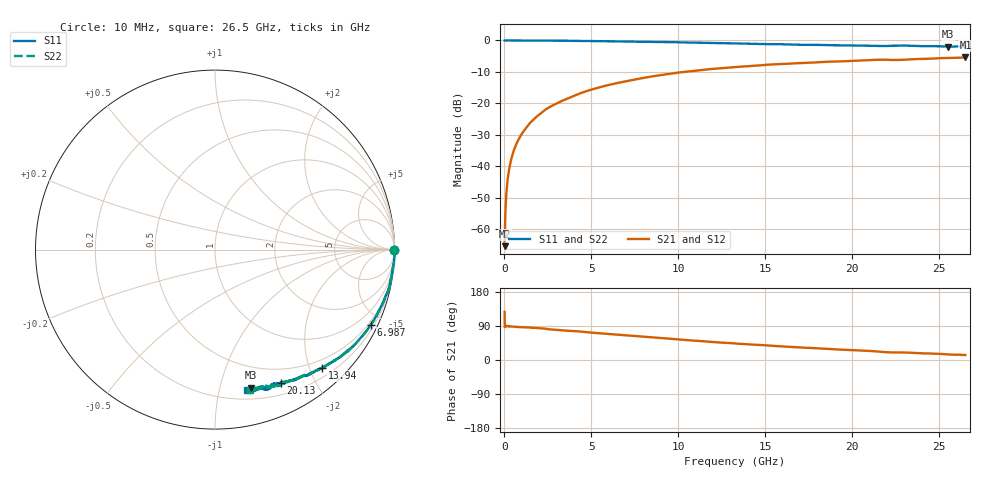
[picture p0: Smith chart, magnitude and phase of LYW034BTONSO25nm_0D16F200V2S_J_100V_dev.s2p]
!Keysight Technologies,N5222B,MY61253708,A.15.00.15
!Date: Wednesday, June 19, 2024 09:37:22
!Correction: S11(C  2-Port  )
!S21(C  2-Port  )
!S12(C  2-Port  )
!S22(C  2-Port  )
!S2P File: Measurements: S11, S21, S12, S22:
# Hz S  RI  R 50
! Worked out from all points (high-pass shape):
!   2651 points, 10 MHz to 26.5 GHz, reference 50 ohm
!   highest |S21| = -5.38 dB at 26.5 GHz (marker M1); lowest = -65.4 dB at 10 MHz (marker M2)
!   |S21| within 3 dB of the highest: 13.44 GHz to end of sweep
!   lowest |S11| = -2.0 dB at 25.5 GHz (marker M3), VSWR 8.76, Z = 14.9 - j62.3 ohm
!   |S11| at or under -10 dB: nowhere
!   |S22| runs from -1.9 to 0.0 dB; largest |S21 - S12| = 0.0067
!   S11 on the Smith chart (normalised r, x): 10 MHz: open; 6.987 GHz: 0.37, -4.35; 13.94 GHz: 0.35, -2.21; 20.13 GHz: 0.33, -1.56; 26.5 GHz: 0.27, -1.22
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1e7  0.9985 -0.00272  -0.000325 0.000431  1.5e-05 0.000421  0.9984 -0.00137
6.997736e7  1 -0.00518  -7.43e-06 0.00235  1.51e-05 0.00232  0.9997 -0.00472
1.699396e8  0.9999 -0.0119  7.46e-05 0.00566  6.48e-05 0.00572  0.9997 -0.0111
2.199208e8  0.9998 -0.0152  0.00011 0.00729  0.00011 0.00736  0.9994 -0.0143
2.798981e8  0.9997 -0.0192  0.000144 0.00931  0.000148 0.00934  0.9998 -0.0184
3.898566e8  0.9994 -0.0268  0.000343 0.013  0.000349 0.013  0.9994 -0.0257
5.198075e8  0.9989 -0.035  0.000557 0.0172  0.000596 0.0174  0.9991 -0.034
8.696755e8  0.9979 -0.0583  0.00161 0.0286  0.00164 0.0289  0.9972 -0.0573
1.479445e9  0.9904 -0.1  0.00396 0.049  0.00399 0.0493  0.9933 -0.0957
2.349117e9  0.9815 -0.1536  0.0103 0.0786  0.0105 0.0792  0.9831 -0.153
3.208792e9  0.9701 -0.2085  0.0213 0.1043  0.0215 0.105  0.9708 -0.2067
4.428332e9  0.9419 -0.2816  0.0387 0.142  0.0392 0.1429  0.9441 -0.2778
6.987366e9  0.8682 -0.4186  0.0957 0.2039  0.0972 0.2048  0.8706 -0.4173
8.846664e9  0.801 -0.5036  0.1457 0.237  0.1474 0.2378  0.8041 -0.5003
1.3255e10  0.6241 -0.6431  0.2733 0.261  0.2759 0.2607  0.6304 -0.6402
1.394474e10  0.5981 -0.6594  0.2918 0.2588  0.2936 0.259  0.6027 -0.6572
1.767333e10  0.4514 -0.7212  0.3795 0.2327  0.3831 0.231  0.4652 -0.7179
2.01324e10  0.3679 -0.7418  0.4278 0.2067  0.4317 0.2037  0.3862 -0.7436
2.209166e10  0.3163 -0.7529  0.4619 0.1706  0.4638 0.1673  0.3139 -0.7594
2.308129e10  0.2876 -0.7808  0.4668 0.1664  0.468 0.1651  0.291 -0.7622
2.550038e10  0.1978 -0.77  0.5108 0.1338  0.5123 0.1331  0.2215 -0.774
2.65e10  0.1786 -0.7843  0.5242 0.1226  0.5238 0.1184  0.1948 -0.7835
